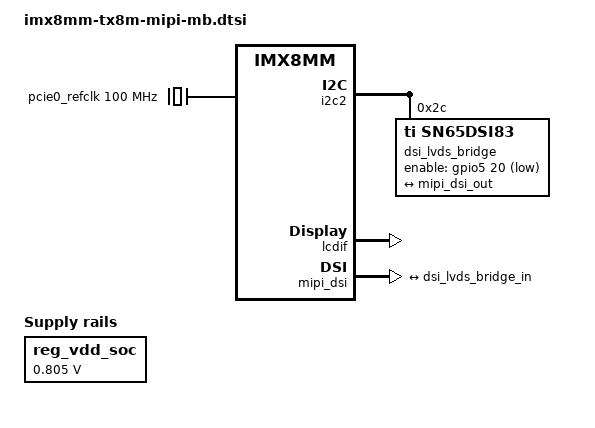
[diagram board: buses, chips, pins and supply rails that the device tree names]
// SPDX-License-Identifier: (GPL-2.0 OR MIT)
/*
 * Copyright 2019 Lothar Waßmann <LW@KARO-electronics.de>
 *
 */

#include "imx8mm-tx8m-mb7.dtsi"

/ {
	pcie0_refclk: pcie0-refclk {
		compatible = "fixed-clock";
		#clock-cells = <0>;
		clock-frequency = <100000000>;
	};

	mcp_clock: mcp-clock {
		compatible = "fixed-clock";
		#clock-cells = <0>;
		clock-frequency = <16000000>;
	};
};

&backlight {
	pinctrl-names = "default";
	pinctrl-0 = <&pinctrl_lcd_en>;
	enable-gpios = <&gpio1 4 GPIO_ACTIVE_HIGH>;
};

&ecspi2 {
	pinctrl-names = "default";
	pinctrl-0 = <&pinctrl_ecspi2>;
	spi-max-frequency = <25000000>;
	cs-gpios = <&gpio5 13 GPIO_ACTIVE_LOW>;
	status = "disabled";

	can0: can@0 {
		compatible = "microchip,mcp2515";
		reg = <0>;
		pinctrl-names = "default";
		pinctrl-0 = <&pinctrl_can0>;
		clocks = <&mcp_clock>;
		interrupt-parent = <&gpio3>;
		interrupts = <11 IRQ_TYPE_LEVEL_LOW>;
		spi-max-frequency = <10000000>;
	};
};

&i2c2 {
	dsi_lvds_bridge: sn65dsi84@2c {
		compatible = "ti,sn65dsi83";
		reg = <0x2c>;
		ti,dsi-lanes = <4>;
		ti,lvds-format = <2>;
		ti,lvds-bpp = <24>;
		ti,width-mm = <217>;
		ti,height-mm = <136>;
		enable-gpios = <&gpio5 20 GPIO_ACTIVE_LOW>;
		pinctrl-names = "default";
		pinctrl-0 = <&pinctrl_lvds>;
		status = "okay";

		display-timings {
			lvds {
				clock-frequency = <62500000>;
				hactive = <1280>;
				vactive = <800>;
				hback-porch = <6>;
				hfront-porch = <5>;
				vback-porch = <2>;
				vfront-porch = <3>;
				hsync-len = <2>;
				vsync-len = <1>;
				hsync-active = <0>;
				vsync-active = <0>;
				de-active = <0>;
				pixelclk-active = <0>;
			};
		};

		port {
			dsi_lvds_bridge_in: endpoint {
				remote-endpoint = <&mipi_dsi_out>;
			};
		};
	};
};

&lcdif {
	status = "okay";
};

&mipi_dsi {
	status = "okay";

	port@1 {
		reg = <1>;

		mipi_dsi_out: endpoint {
			remote-endpoint = <&dsi_lvds_bridge_in>;
			attach-bridge;
		};
	};
};

&pcie0 {
	pinctrl-names = "default";
	pinctrl-0 = <&pinctrl_pcie>;
	disable-gpio = <&gpio5 18 GPIO_ACTIVE_LOW>;
	reset-gpio = <&gpio2 19 GPIO_ACTIVE_LOW>;
	wake-gpio = <&gpio1 0 GPIO_ACTIVE_LOW>;
	clocks = <&clk IMX8MM_CLK_PCIE1_ROOT>,
		 <&clk IMX8MM_CLK_PCIE1_AUX>,
		 <&clk IMX8MM_CLK_PCIE1_PHY>,
		 <&pcie0_refclk>;
	clock-names = "pcie", "pcie_aux", "pcie_phy", "pcie_bus";
	assigned-clocks = <&clk IMX8MM_CLK_PCIE1_AUX>,
			  <&clk IMX8MM_CLK_PCIE1_PHY>,
			  <&clk IMX8MM_CLK_PCIE1_CTRL>;
	assigned-clock-rates = <10000000>, <100000000>, <250000000>;
	assigned-clock-parents = <&clk IMX8MM_SYS_PLL2_50M>,
				 <&clk IMX8MM_SYS_PLL2_100M>,
				 <&clk IMX8MM_SYS_PLL2_250M>;
	ext_osc = <0>;
	status = "disabled";
};

&reg_vdd_soc {
	/* PCIe requires a minimum vdd soc voltage of 0.805V */
	regulator-min-microvolt = <805000>;
};

&iomuxc {
	pinctrl_can0: can0grp {
		fsl,pins = <
			MX8MM_IOMUXC_NAND_CLE_GPIO3_IO5		0x156
			MX8MM_IOMUXC_ECSPI2_SS0_GPIO5_IO13	0x156
		>;

	};

	pinctrl_ecspi2: ecspi2grp {
		fsl,pins = <
			MX8MM_IOMUXC_ECSPI2_SCLK_ECSPI2_SCLK	0x156
			MX8MM_IOMUXC_ECSPI2_MOSI_ECSPI2_MOSI	0x156
			MX8MM_IOMUXC_ECSPI2_MISO_ECSPI2_MISO	0x156
		>;
	};

	pinctrl_pcie: pciegrp {
		fsl,pins = <
			MX8MM_IOMUXC_SD2_RESET_B_GPIO2_IO19		0x146
			MX8MM_IOMUXC_GPIO1_IO00_GPIO1_IO0		0x146
			MX8MM_IOMUXC_I2C3_SCL_GPIO5_IO18		0x146
		>;
	};

	pinctrl_lcd_en: lcd-engrp {
		fsl,pins = <
			MX8MM_IOMUXC_GPIO1_IO04_GPIO1_IO4		0x146
		>;
	};

	pinctrl_lvds: lvdsgrp {
		fsl,pins = <
			MX8MM_IOMUXC_I2C4_SCL_GPIO5_IO20		0x146
		>;
	};
};
